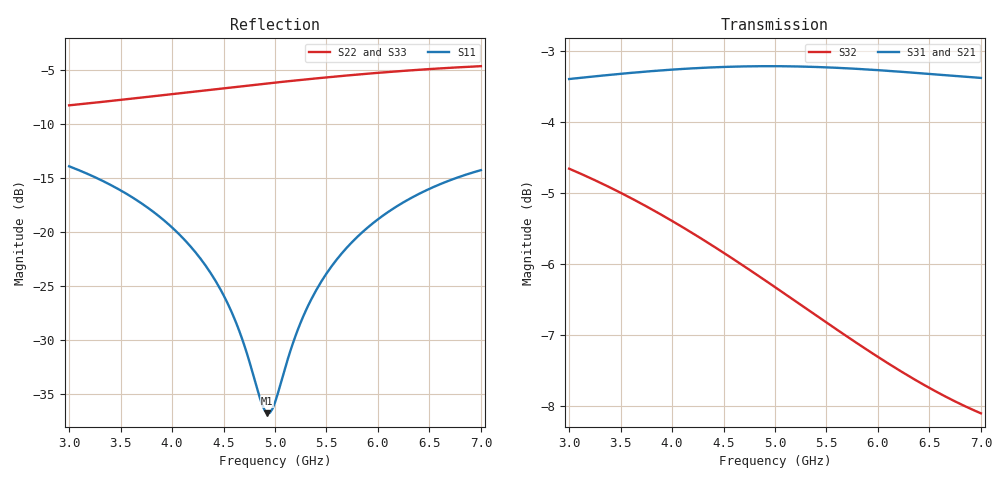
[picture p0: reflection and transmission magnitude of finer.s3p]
! yapnr rf: divider-osh-m-star-fwd, footprint re-simulated (refine 3)
! spec sha256 6ebc0f7f06cb0ed0a2ade3a83320aeec5a79c13a408e34964cd1a333cf0d2266
! 3 ports renormalized to 50 ohm, e^(+jwt) convention
# GHz S RI R 50
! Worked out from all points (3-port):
!   161 points, 3 GHz to 7 GHz, reference 50 ohm
!   strongest paths, dB at 3 GHz, 4 GHz, 5 GHz, 6 GHz, 7 GHz:
!     S31: -3.4, -3.3, -3.2, -3.3, -3.4
!     S21: -3.4, -3.3, -3.2, -3.3, -3.4
!     S32: -4.7, -5.4, -6.3, -7.3, -8.1
!   lowest |S11| = -36.7 dB at 4.925 GHz (marker M1), VSWR 1.03, Z = 48.6 + j0.327 ohm
!   |S11| at or under -10 dB: start of sweep to end of sweep
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3  -0.1206 0.1612  0.1053 -0.6679  0.1053 -0.6679
   0.1052 -0.6679  0.0927 0.3738  -0.1489 -0.5655
   0.1052 -0.6679  -0.1489 -0.5655  0.0927 0.3738
3.725  -0.0538 0.1222  -0.1352 -0.6707  -0.1352 -0.6707
       -0.1352 -0.6706  0.26 0.3291  -0.3486 -0.4273
       -0.1352 -0.6706  -0.3486 -0.4273  0.26 0.3291
4.25  -0.0224 0.0749  -0.3052 -0.6169  -0.3052 -0.6169
      -0.3052 -0.6169  0.3693 0.2531  -0.4365 -0.29
      -0.3052 -0.6169  -0.4365 -0.29  0.3693 0.2531
4.575  -0.0135 0.0409  -0.4017 -0.5608  -0.4017 -0.5608
       -0.4017 -0.5607  0.4261 0.189  -0.4652 -0.1997
       -0.4017 -0.5607  -0.4652 -0.1997  0.4261 0.189
4.925  -0.0141 0.00336  -0.4937 -0.4827  -0.4937 -0.4827
       -0.4936 -0.4826  0.4741 0.1076  -0.4757 -0.1043
       -0.4936 -0.4826  -0.4757 -0.1043  0.4741 0.1076
5  -0.0157 -0.0045  -0.5114 -0.4638  -0.5114 -0.4638
   -0.5114 -0.4637  0.4824 0.0887  -0.4754 -0.0845
   -0.5114 -0.4637  -0.4754 -0.0845  0.4824 0.0887
5.3  -0.0267 -0.0343  -0.5745 -0.3819  -0.5745 -0.3819
     -0.5745 -0.3818  0.5073 0.00952  -0.4664 -0.0089
     -0.5745 -0.3818  -0.4664 -0.0089  0.5073 0.00952
5.675  -0.0502 -0.0653  -0.6339 -0.2678  -0.6339 -0.2678
       -0.6339 -0.2678  0.5191 -0.0951  -0.4405 0.0758
       -0.6339 -0.2678  -0.4405 0.0758  0.5191 -0.0951
6.25  -0.1015 -0.0927  -0.6795 -0.0787  -0.6795 -0.0787
      -0.6794 -0.0786  0.4934 -0.2558  -0.3789 0.1816
      -0.6794 -0.0786  -0.3789 0.1816  0.4934 -0.2558
7  -0.1749 -0.0822  -0.6563 0.1679  -0.6563 0.1679
   -0.6562 0.168  0.387 -0.4376  -0.2786 0.2781
   -0.6562 0.168  -0.2786 0.2781  0.387 -0.4376
